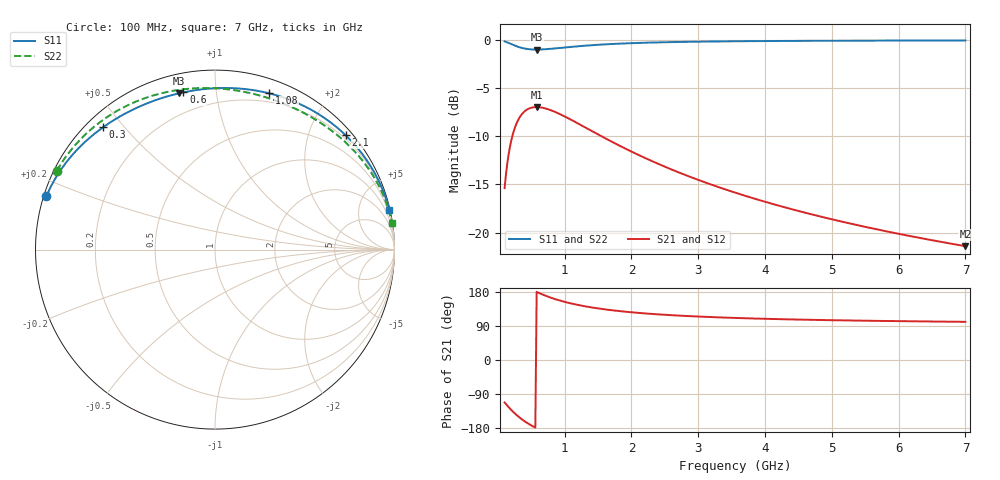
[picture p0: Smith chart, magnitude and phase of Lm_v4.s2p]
! Sonnet Data File
! From: em Version : 14.52
! From Project: Lm_v4
! Data is De-embedded
! Data File Written: 03/14/2018 23:18:41
!< HDATE 03/14/2018 23:10:57
!< MDATE 03/14/2018 23:10:57
# GHZ Z MA R 1.0
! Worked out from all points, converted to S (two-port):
!   346 points, 100 MHz to 7 GHz, reference 1 ohm
!   highest |S21| = -6.96 dB at 580 MHz (marker M1); lowest = -21.4 dB at 7 GHz (marker M2)
!   |S21| within 3 dB of the highest: 216.9 MHz to 1.541 GHz (1.324 GHz wide, 151 % of centre)
!   lowest |S11| = -1.0 dB at 580 MHz (marker M3), VSWR 17.78, Z = 0.0916 + j0.791 ohm
!   |S11| at or under -10 dB: nowhere
!   |S22| runs from -1.0 to 0.0 dB; largest |S21 - S12| = 2.8e-16
!   S11 on the Smith chart (normalised r, x): 100 MHz: 0.01, +0.16; 300 MHz: 0.05, +0.44; 600 MHz: 0.09, +0.81; 1.08 GHz: 0.12, +1.40; 2.1 GHz: 0.13, +2.66; 7 GHz: 0.14, +8.85
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0.1  0.1568 90.0  0.08911 -90.0  0.08911 -90.0  0.2365 90.0
!< P1 F=0.1 Eeff=(undefined: sl) Z0=(undefined: sl) R=0.0 C=0.0
!< P2 F=0.1 Eeff=(undefined: sl) Z0=(undefined: sl) R=0.0 C=0.0
0.14  0.2202 90.0  0.1248 -90.0  0.1248 -90.0  0.3323 90.0
0.2  0.3153 90.0  0.1782 -90.0  0.1782 -90.0  0.476 90.0
0.24  0.3787 90.0  0.2139 -90.0  0.2139 -90.0  0.5718 90.0
0.3  0.4738 90.0  0.2674 -90.0  0.2674 -90.0  0.7155 90.0
0.36  0.5689 90.0  0.3209 -90.0  0.3209 -90.0  0.8591 90.0
0.44  0.6956 90.0  0.3922 -90.0  0.3922 -90.0  1.051 90.0
0.58  0.9175 90.0  0.5171 -90.0  0.5171 -90.0  1.386 90.0
0.6  0.9492 90.0  0.5349 -90.0  0.5349 -90.0  1.434 90.0
0.7  1.108 90.0  0.6241 -90.0  0.6241 -90.0  1.673 90.0
0.82  1.298 90.0  0.7312 -90.0  0.7312 -90.0  1.961 90.0
1.08  1.71 90.0  0.9634 -90.0  0.9634 -90.0  2.584 90.0
1.26  1.996 90.0  1.124 -90.0  1.124 -90.0  3.015 90.0
1.44  2.281 90.0  1.285 -90.0  1.285 -90.0  3.447 90.0
1.64  2.599 90.0  1.465 -90.0  1.465 -90.0  3.927 90.0
2.1  3.33 90.0  1.878 -90.0  1.878 -90.0  5.031 90.0
2.4  3.807 90.0  2.148 -90.0  2.148 -90.0  5.753 90.0
2.92  4.637 90.0  2.619 -90.0  2.619 -90.0  7.006 90.0
3.56  5.662 90.0  3.202 -90.0  3.202 -90.0  8.554 90.0
4.7  7.502 90.0  4.257 -90.0  4.257 -90.0  11.33 90.0
5.86  9.397 90.0  5.355 -90.0  5.355 -90.0  14.19 90.0
7  11.29 90.0  6.466 -90.0  6.466 -90.0  17.04 90.0
